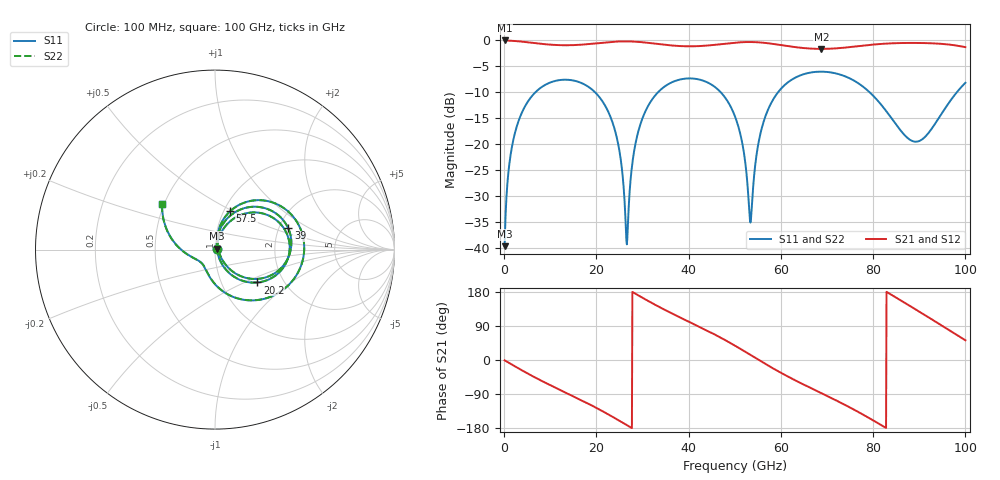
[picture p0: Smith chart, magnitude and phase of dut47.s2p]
! Touchstone file exported from HFSS 2026.1.0
!  File:  C:/ffzhzh/LocalFiles/Ansys_Project_Files/temp_train_TSV_RDL_47_1783620679_33328.aedt
!  Generated:  02:19:10 AM Jul 10, 2026
!  Design:  TSV_RDL
!  Project:  temp_train_TSV_RDL_47_1783620679_33328
! Variables:
!  h_bsmrdl = 2.9um
!  h_ox = 20um
!  h_rdl = 5um
!  h_sub = 98.84um
!  h_tmrdl = 2.42um
!  h_tsv = 98.84um
!  h_via = 3um
!  l_bsmrdl = 294.97um
!  l_sub = 1905.9um
!  l_tmrdl = 116.78um
!  m_sub = 200um
!  pitch = 55.55um
!  r_tsv = 11.48um
!  s_tmrdl = 10um
!  w_bsmrdl = 26.8um
!  w_sub = 500um
!  w_tmrdl = 24.49um
!  x_tsv_center1 = 129.025um
!  x_tsv_center2 = 450.795um
!  x_tsv_center3 = 592.065um
!  x_tsv_center4 = 913.835um
!  x_tsv_center5 = 1055.105um
!  x_tsv_center6 = 1376.875um
# GHz S MA R 50.000000
! Terminal data exported
! Port[1] = TM_RDL1_1_T1
! Port[2] = TM_RDL5_1_T1
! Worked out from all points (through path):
!   1000 points, 100 MHz to 100 GHz, reference 50 ohm
!   highest |S21| = -0.07 dB at 100 MHz (marker M1); lowest = -1.7 dB at 68.8 GHz (marker M2)
!   group delay of S21, straight-line fit = 18.3 ps
!   lowest |S11| = -39.6 dB at 100 MHz (marker M3), VSWR 1.02, Z = 50.9 + j0.623 ohm
!   |S11| at or under -10 dB: 19.68 GHz to 33.38 GHz (13.7 GHz wide, 51.6 % of centre); 46.93 GHz to 59.4 GHz (12.47 GHz wide, 23.5 % of centre); 79.21 GHz to 98.16 GHz (18.95 GHz wide, 21.4 % of centre) (the widest 3 of 4)
!   |S22| runs from -39.6 to -6.1 dB; largest |S21 - S12| = 1.8e-14
!   S11 on the Smith chart (normalised r, x): 100 MHz: 1.02, +0.01; 20.2 GHz: 1.48, -0.59; 39 GHz: 2.25, +0.65; 57.5 GHz: 1.07, +0.48; 100 GHz: 0.49, +0.29
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0.1  0.0105 35.7  0.9915 -0.8  0.9915 -0.8  0.0105 35.7
! Gamma 0 0 0 0
! Port Impedance 50 0 50 0
1.6  0.08973 70.8  0.9841 -11.5  0.9841 -11.5  0.08973 70.8
4.4  0.2258 55.5  0.9601 -31.0  0.9601 -31.0  0.2258 55.5
10.2  0.3945 20.4  0.9024 -67.6  0.9024 -67.6  0.3944 20.4
16.8  0.3863 -17.4  0.9038 -106.5  0.9038 -106.5  0.3863 -17.4
20.2  0.2992 -37.8  0.933 -127.7  0.933 -127.7  0.2992 -37.7
24.4  0.1169 -62.5  0.9672 -156.2  0.9672 -156.2  0.1169 -62.1
26.6  0.01094 8.9  0.9715 -171.8  0.9715 -171.8  0.01172 9.2
28.9  0.1233 75.6  0.9619 171.8  0.9619 171.8  0.1234 75.2
33.4  0.3168 48.9  0.9162 141.4  0.9162 141.4  0.3169 48.8
39  0.425 16.2  0.8728 107.3  0.8728 107.3  0.4251 16.1
50.1  0.1823 -48.6  0.9446 37.4  0.9446 37.4  0.1823 -48.5
53.4  0.0177 13.5  0.9579 13.4  0.9579 13.4  0.01818 13.6
55.2  0.1062 79.7  0.951 0.1  0.951 0.1  0.1063 79.4
57.5  0.2293 68.6  0.929 -16.5  0.929 -16.5  0.2294 68.5
66.7  0.4899 13.7  0.8276 -75.3  0.8276 -75.3  0.49 13.7
68.8  0.4973 1.8  0.8231 -87.6  0.8231 -87.6  0.4974 1.9
76.1  0.4021 -41.4  0.8672 -132.6  0.8672 -132.6  0.4022 -41.3
83.4  0.1927 -90.1  0.9281 176.3  0.9281 176.3  0.1929 -89.7
88.5  0.1074 -128.6  0.9387 138.8  0.9387 138.8  0.1075 -127.9
92.4  0.1352 -162.3  0.9325 109.6  0.9325 109.6  0.1352 -161.8
100  0.3891 139.2  0.8551 52.1  0.8551 52.1  0.389 139.3
